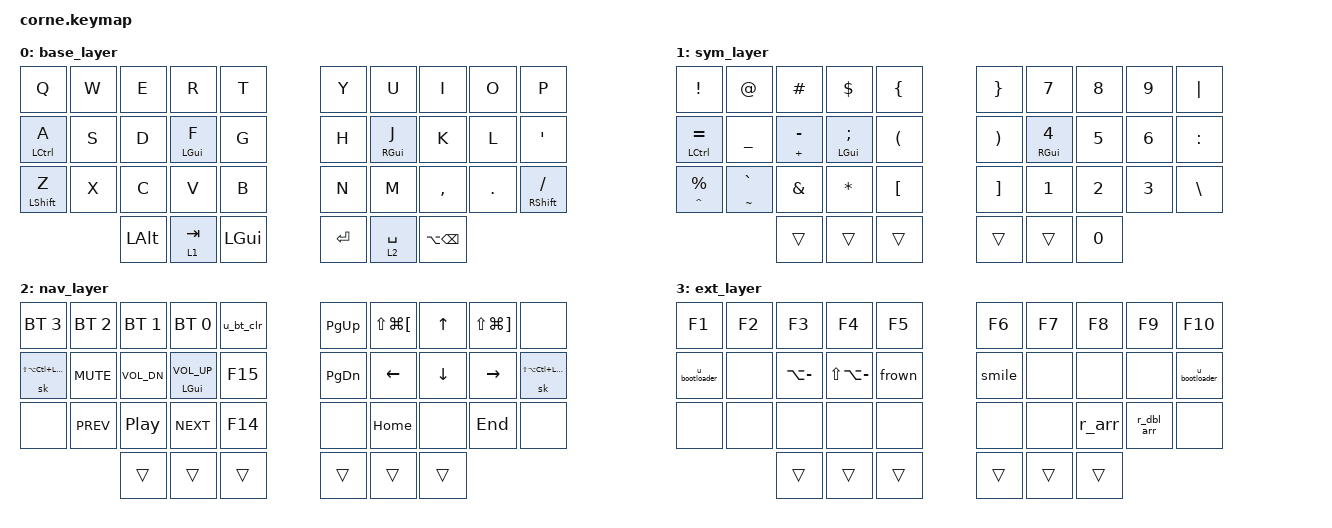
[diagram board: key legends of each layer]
#include <dt-bindings/zmk/matrix_transform.h>
#include <behaviors.dtsi>
#include <dt-bindings/zmk/bt.h>
#include <dt-bindings/zmk/keys.h>

#define L_BASE 0
#define L_NUMSYM 1
#define L_NAV 2
#define L_EXTRA 3
#define L_GAME 4

&lt { tapping-term-ms = <150>; };

/ {
    chosen { zmk,matrix_transform = &five_column_transform; };

    behaviors {
        as: auto_shift {
            compatible = "zmk,behavior-hold-tap";
            label = "Auto-shift";
            #binding-cells = <2>;
            flavor = "tap-preferred";
            bindings = <&kp>, <&kp>;

            tapping-term-ms = <135>;
        };

        hm: homerow_mods {
            compatible = "zmk,behavior-hold-tap";
            label = "Homerow mods";
            #binding-cells = <2>;
            tapping-term-ms = <150>;
            quick-tap-ms = <135>;
            flavor = "tap-preferred";
            bindings = <&kp>, <&kp>;

            require-prior-idle-ms = <50>;
        };

        u_bootloader: u_bootloader {
            compatible = "zmk,behavior-tap-dance";
            label = "U_BOOTLOADER";
            #binding-cells = <0>;
            bindings = <&none>, <&bootloader>;
        };

        u_bt_clr: u_bt_clr {
            compatible = "zmk,behavior-tap-dance";
            label = "U_BT_CLR";
            #binding-cells = <0>;
            bindings = <&none>, <&bt BT_CLR>;
        };

        hml: hml {
            compatible = "zmk,behavior-hold-tap";
            label = "HML";
            bindings = <&kp>, <&kp>;

            #binding-cells = <2>;
            tapping-term-ms = <280>;
            quick-tap-ms = <175>;
            require-prior-idle-ms = <100>;
            hold-trigger-on-release;
            hold-trigger-key-positions = <5 6 7 8 9 15 16 17 18 19 25 26 27 28 29>;
            flavor = "balanced";
        };

        hmr: hmr {
            compatible = "zmk,behavior-hold-tap";
            label = "HMR";
            bindings = <&kp>, <&kp>;

            #binding-cells = <2>;
            tapping-term-ms = <280>;
            quick-tap-ms = <175>;
            require-prior-idle-ms = <100>;
            flavor = "balanced";
            hold-trigger-on-release;
            hold-trigger-key-positions = <0 1 2 3 4 10 11 12 13 14 20 21 22 23 24>;
        };
    };

    combos {
        compatible = "zmk,combos";

        space_hold {
            bindings = <&kp SPACE>;
            key-positions = <31 32>;
            layers = <0>;
        };

        backspace {
            bindings = <&kp BSPC>;
            key-positions = <7 8>;
            require-prior-idle-ms = <50>;
            layers = <0 1>;
        };

        escape {
            bindings = <&kp ESC>;
            key-positions = <1 2>;
            layers = <0 1>;
        };
    };

    macros {
        smile: smile {
            compatible = "zmk,behavior-macro";
            #binding-cells = <0>;
            bindings = <&kp COLON &kp RPAR>;
            label = "SMILE";
        };

        frown: frown {
            compatible = "zmk,behavior-macro";
            #binding-cells = <0>;
            bindings = <&kp COLON &kp LPAR>;
            label = "FROWN";
        };

        r_arr: r_arr {
            compatible = "zmk,behavior-macro";
            #binding-cells = <0>;
            bindings = <&kp MINUS &kp GT>;
            label = "R_ARR";
        };

        r_dbl_arr: r_dbl_arr {
            compatible = "zmk,behavior-macro";
            #binding-cells = <0>;
            bindings = <&kp EQUAL &kp GT>;
            label = "R_DBL_ARR";
        };
    };

    keymap {
        compatible = "zmk,keymap";

        base_layer {
            bindings = <
  &kp Q         &kp W  &kp E     &kp R        &kp T       &kp Y    &kp U        &kp I         &kp O    &kp P
  &hml LCTRL A  &kp S  &kp D     &hml LGUI F  &kp G       &kp H    &hmr RGUI J  &kp K         &kp L    &kp SQT
  &mt LSHFT Z   &kp X  &kp C     &kp V        &kp B       &kp N    &kp M        &kp COMMA     &kp DOT  &mt RSHFT SLASH
                       &kp LALT  &lt 1 TAB    &kp LGUI    &kp RET  &lt 2 SPACE  &kp LA(BSPC)
            >;
        };

        sym_layer {
            bindings = <
  &kp EXCL          &kp AT           &kp HASH        &kp DLLR        &kp LBRC    &kp RBRC  &kp N7        &kp N8  &kp N9  &kp PIPE
  &hml LCTRL EQUAL  &kp UNDER        &as PLUS MINUS  &hml LGUI SEMI  &kp LPAR    &kp RPAR  &hmr RGUI N4  &kp N5  &kp N6  &kp COLON
  &as CARET PRCNT   &as TILDE GRAVE  &kp AMPS        &kp STAR        &kp LBKT    &kp RBKT  &kp N1        &kp N2  &kp N3  &kp BSLH
                                     &trans          &trans          &trans      &trans    &trans        &kp N0
            >;
        };

        nav_layer {
            bindings = <
  &bt BT_SEL 3          &bt BT_SEL 2  &bt BT_SEL 1  &bt BT_SEL 0        &u_bt_clr    &kp PG_UP  &kp LS(LG(LBKT))  &kp UP    &kp LS(LG(RBKT))  &none
  &sk LS(LA(LC(LGUI)))  &kp K_MUTE    &kp C_VOL_DN  &hml LGUI C_VOL_UP  &kp F15      &kp PG_DN  &kp LEFT          &kp DOWN  &kp RIGHT         &sk LS(LA(LC(LGUI)))
  &none                 &kp C_PREV    &kp C_PP      &kp C_NEXT          &kp F14      &none      &kp HOME          &none     &kp END           &none
                                      &trans        &trans              &trans       &trans     &trans            &trans
            >;
        };

        ext_layer {
            bindings = <
  &kp F1         &kp F2  &kp F3         &kp F4             &kp F5    &kp F6  &kp F7  &kp F8  &kp F9      &kp F10
  &u_bootloader  &none   &kp LA(MINUS)  &kp LS(LA(MINUS))  &frown    &smile  &none   &none   &none       &u_bootloader
  &none          &none   &none          &none              &none     &none   &none   &r_arr  &r_dbl_arr  &none
                         &trans         &trans             &trans    &trans  &trans  &trans
            >;
        };
    };

    conditional_layers {
        compatible = "zmk,conditional-layers";

        extra {
            if-layers = <1 2>;
            then-layer = <3>;
        };
    };
};
